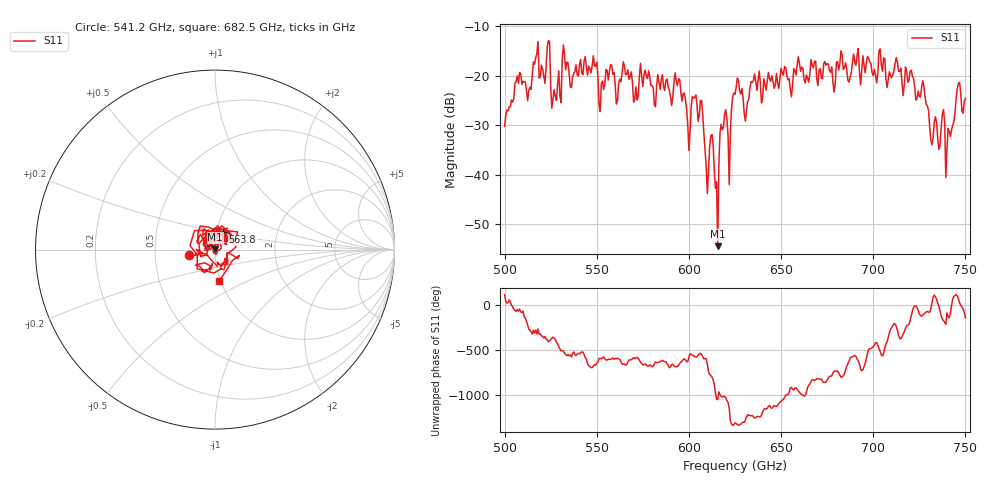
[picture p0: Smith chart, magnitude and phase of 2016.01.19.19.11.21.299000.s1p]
!Created with skrf (http://scikit-rf.org).
# GHz S RI R 50.0
!freq ReS11 ImS11
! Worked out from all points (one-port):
!   401 points, 500 GHz to 750 GHz, reference 50 ohm
!   lowest |S11| = -54.4 dB at 615.6 GHz (marker M1), VSWR 1.00, Z = 50.2 + j0.085 ohm
!   |S11| at or under -10 dB: start of sweep to end of sweep
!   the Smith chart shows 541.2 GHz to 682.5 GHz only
!   S11 on the Smith chart (normalised r, x): 541.2 GHz: 0.75, -0.04; 563.8 GHz: 1.07, +0.21; 682.5 GHz: 0.98, -0.36
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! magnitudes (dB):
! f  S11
! 500 GHz  -30.2
! 507.5 GHz  -21.5
! 513.1 GHz  -23.0
! 516.9 GHz  -16.3
! 523.8 GHz  -12.9
! 526.9 GHz  -22.8
! 531.2 GHz  -16.9
! 541.2 GHz  -16.7
! 562.5 GHz  -20.7
! 563.8 GHz  -19.4
! 571.2 GHz  -22.2
! 593.8 GHz  -22.0
! 599.4 GHz  -29.9
! 606.9 GHz  -25.0
! 609.4 GHz  -38.3
! 612.5 GHz  -31.9
! 615.6 GHz  -54.4
! 618.1 GHz  -30.9
! 621.9 GHz  -42.0
! 625 GHz  -23.7
! 631.2 GHz  -27.0
! 656.2 GHz  -21.8
! 682.5 GHz  -15.0
! 687.5 GHz  -20.2
! 718.8 GHz  -21.3
! 740.6 GHz  -30.6
! 746.2 GHz  -21.5
! 750 GHz  -24.6
